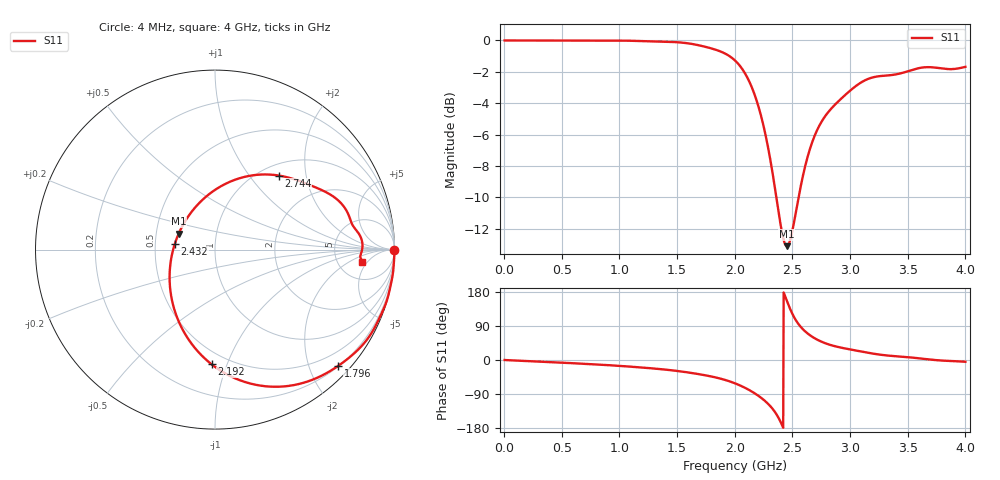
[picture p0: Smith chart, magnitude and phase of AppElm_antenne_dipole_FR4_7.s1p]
! TOUCHSTONE file generated by CST MICROWAVE STUDIO
! Date and time: Thu May 12 17:57:34 2022
! Project name: AppElm_antenne_dipole_FR4.cst
! Parameters = {L=38.8; e=0.035; f=2.45e+09; h=1.6; i=0.8; l1=4; lambda=122.449; ls=30; wl=1.7; ws=84}
! Header version: 2018
! Port assignment regex: !\s*Touchstone port\s*([0-9]+)\s*=\s*(CST MWS port|CST DS port)\s*([0-9]+|Zmin|Zmax)\s*\(\"(.*)\"\)(\s*mode\s*([0-9]+))?.*
! Touchstone port assignment:
! Touchstone port 1 = CST MWS port 1 ("")
# GHz S MA R 50
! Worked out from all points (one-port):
!   1000 points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, 4 MHz to 4 GHz, reference 50 ohm
!   lowest |S11| = -13.1 dB at 2.452 GHz (marker M1), VSWR 1.57, Z = 32.7 + j6.11 ohm
!   |S11| at or under -10 dB: 2.361 GHz to 2.553 GHz (192.8 MHz wide, 7.85 % of centre)
!   S11 on the Smith chart (normalised r, x): 4 MHz: open; 1.796 GHz: 0.21, -2.50; 2.192 GHz: 0.41, -0.88; 2.432 GHz: 0.63, +0.04; 2.744 GHz: 1.20, +1.41; 4 GHz: 8.80, -3.68
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0.004  0.9999 -0.1
0.504  1 -7.1
1.004  0.9989 -15.6
1.504  0.9869 -29.1
1.656  0.9706 -35.7
1.796  0.9435 -43.4
1.908  0.9115 -51.9
2.004  0.8619 -61.8
2.104  0.7678 -75.8
2.192  0.6391 -91.7
2.26  0.5134 -107.5
2.32  0.3934 -125.9
2.376  0.2901 -150.7
2.432  0.2263 172.1
2.452  0.221 156.3
2.504  0.2522 119.1
2.56  0.3256 91.9
2.616  0.4049 74.0
2.676  0.4791 60.5
2.744  0.544 49.4
2.848  0.6128 38.0
3.004  0.6937 27.7
3.196  0.7625 17.0
3.324  0.7735 11.8
3.504  0.7985 7.4
3.64  0.8209 3.0
3.764  0.817 -0.8
4  0.8239 -4.7
